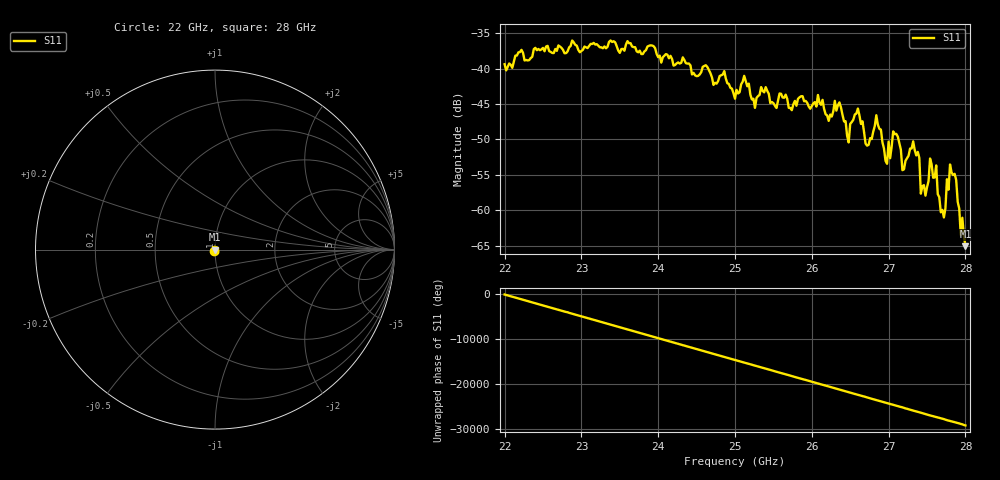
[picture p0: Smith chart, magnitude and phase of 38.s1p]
#  HZ  S  RI  R  50.00
! Rohde & Schwarz ZVA40 4Ports - Version 3.90 - 1145.1110k42 SN: 100403
! Date: 2023-10-04 06:16:16
! Measurement: S12
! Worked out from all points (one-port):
!   301 points, 22 GHz to 28 GHz, reference 50 ohm
!   lowest |S11| = -65.1 dB at 28 GHz (marker M1), VSWR 1.00, Z = 50 - j0.0473 ohm
!   |S11| at or under -10 dB: start of sweep to end of sweep
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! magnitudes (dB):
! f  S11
! 22 GHz  -39.4
! 22.76 GHz  -37.3
! 23.5 GHz  -37.8
! 24.26 GHz  -39.1
! 24.86 GHz  -40.3
! 25 GHz  -44.2
! 25.12 GHz  -41.0
! 25.26 GHz  -45.5
! 25.34 GHz  -42.6
! 25.76 GHz  -45.0
! 26.36 GHz  -44.8
! 26.48 GHz  -50.4
! 26.5 GHz  -47.8
! 26.6 GHz  -45.6
! 26.72 GHz  -50.9
! 26.84 GHz  -46.6
! 26.98 GHz  -53.4
! 27.06 GHz  -48.9
! 27.18 GHz  -54.3
! 27.26 GHz  -52.3
! 27.38 GHz  -51.8
! 27.42 GHz  -57.7
! 27.48 GHz  -57.9
! 27.54 GHz  -52.7
! 27.62 GHz  -53.7
! 27.72 GHz  -61.0
! 27.8 GHz  -53.5
! 28 GHz  -65.1
